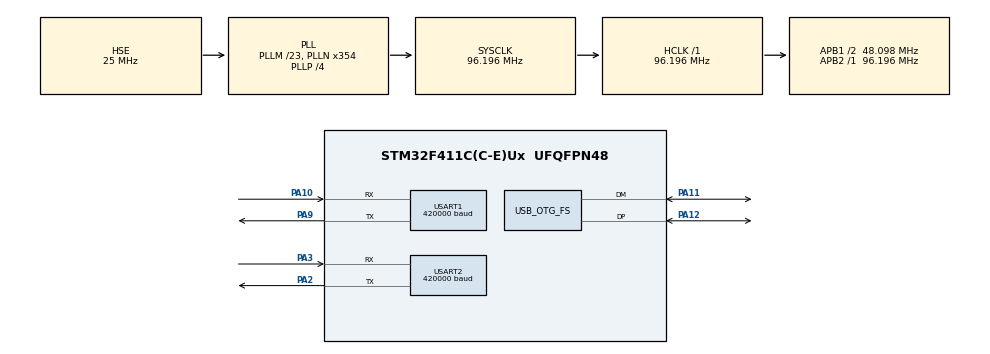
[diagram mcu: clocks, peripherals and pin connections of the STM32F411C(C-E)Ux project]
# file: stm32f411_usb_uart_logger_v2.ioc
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Mcu.Family=STM32F4
Mcu.Name=STM32F411C(C-E)Ux
Mcu.Package=UFQFPN48
NVIC.OTG_FS_IRQn=true\:0\:0\:false\:false\:true\:false\:true\:true
NVIC.PriorityGroup=NVIC_PRIORITYGROUP_4
NVIC.USART2_IRQn=true\:0\:0\:false\:false\:true\:true\:true\:true
PA10.Mode=Multiprocessor_communication
PA10.Signal=USART1_RX
PA11.Mode=Device_Only
PA11.Signal=USB_OTG_FS_DM
PA12.Mode=Device_Only
PA12.Signal=USB_OTG_FS_DP
PA2.Mode=Asynchronous
PA2.Signal=USART2_TX
PA3.Mode=Asynchronous
PA3.Signal=USART2_RX
PA9.Mode=Multiprocessor_communication
PA9.Signal=USART1_TX
PH0\ -\ OSC_IN.Mode=HSE-External-Oscillator
PH0\ -\ OSC_IN.Signal=RCC_OSC_IN
PH1\ -\ OSC_OUT.Mode=HSE-External-Oscillator
PH1\ -\ OSC_OUT.Signal=RCC_OSC_OUT
ProjectManager.HeapSize=0x200
ProjectManager.StackSize=0x400
ProjectManager.TargetToolchain=Makefile
RCC.48MHZClocksFreq_Value=48097826.086956516
RCC.AHBFreq_Value=96195652.17391303
RCC.APB1CLKDivider=RCC_HCLK_DIV2
RCC.APB1Freq_Value=48097826.086956516
RCC.APB1TimFreq_Value=96195652.17391303
RCC.APB2Freq_Value=96195652.17391303
RCC.APB2TimFreq_Value=96195652.17391303
RCC.CortexFreq_Value=96195652.17391303
RCC.HCLKFreq_Value=96195652.17391303
RCC.HSE_VALUE=25000000
RCC.HSI_VALUE=16000000
RCC.LSE_VALUE=32768
RCC.PLLM=23
RCC.PLLN=354
RCC.PLLP=RCC_PLLP_DIV4
RCC.PLLQ=8
RCC.SYSCLKFreq_VALUE=96195652.17391303
RCC.SYSCLKSource=RCC_SYSCLKSOURCE_PLLCLK
RCC.VCOOutputFreq_Value=384782608.6956521
USART1.BaudRate=420000
USART1.VirtualMode=VM_ASYNC
USART2.BaudRate=420000
USART2.VirtualMode=VM_ASYNC
USB_DEVICE.CLASS_NAME_FS=CDC
USB_DEVICE.VirtualMode=Cdc
USB_DEVICE.VirtualModeFS=Cdc_FS
USB_OTG_FS.VirtualMode=Device_Only
VP_USB_DEVICE_VS_USB_DEVICE_CDC_FS.Mode=CDC_FS
board=custom

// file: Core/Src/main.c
/* USER CODE BEGIN Header */
/**
  ******************************************************************************
  * @file           : main.c
  * @brief          : Main program body
  ******************************************************************************
  * @attention
  *
  * Copyright (c) 2024 STMicroelectronics.
  * All rights reserved.
  *
  * This software is licensed under terms that can be found in the LICENSE file
  * in the root directory of this software component.
  * If no LICENSE file comes with this software, it is provided AS-IS.
  *
  ******************************************************************************
  */
/* USER CODE END Header */
#include <stdio.h>
#include "main.h"
#include "usb_device.h"

/* USER CODE BEGIN Includes */
#include <string.h>
#include "crsf.h"
/* USER CODE END Includes */

UART_HandleTypeDef huart1;
UART_HandleTypeDef huart2;

/* USER CODE BEGIN PV */
CRSF_Packet crsf_packet;
struct crsfPayloadAttitude_s CRSF_Attitude;
struct crsfPayloadLinkstatistics_s CRSF_LinkStatistics;

/* USER CODE END PV */

void SystemClock_Config(void);
static void MX_GPIO_Init(void);
static void MX_USART1_UART_Init(void);
static void MX_USART2_UART_Init(void);
/* USER CODE BEGIN PFP */
extern uint8_t CDC_Transmit_FS(uint8_t* Buf, uint16_t Len);
void clear_link_statistics(struct crsfPayloadLinkstatistics_s* crsf_link_statistics);
void processCrsfFrame(uint8_t * data, uint8_t device_id, uint8_t frame_size, uint8_t crc, uint32_t crc_failures_count, struct crsfPacket_s *crsf_packet, struct crsfPayloadLinkstatistics_s* crsf_link_statistics, struct crsfPayloadAttitude_s * crsf_attitude);
/* USER CODE END PFP */

/* USER CODE BEGIN 0 */
char buffer[256];
#define MEMORY_LIMIT  412000
#define CHANNEL_NUMBER_PITCH 0
#define CHANNEL_NUMBER_ROLL 1
#define CHANNEL_NUMBER_YAW 2
#define CHANNEL_NUMBER_TROTTLE 3
#define CHANNEL_NUMBER_ARM 4
#define CHANNEL_NUMBER_CUSTOM_MODE 5

uint32_t t_received = 0;
uint32_t t_transmitted = 0;
uint16_t buffer_position, previously_read;
uint8_t device_id;
uint8_t frame_size;

typedef struct data_for_flash {
  uint8_t beginning_marker;
  uint32_t tick;
  uint16_t rx_pitch;
  uint16_t rx_roll;
  uint16_t rx_yaw;
  uint16_t rx_trottle;
  uint16_t rx_arm;
  uint pitch;
  uint roll;
  uint yaw;
  uint8_t uplink_quality;
  uint8_t downlink_quality;
  char flight_mode[4];
} data_for_flash_s;

struct data_for_flash data_for_flash_obj;

/* USER CODE END 0 */

int main(void)
{

  /* MCU Configuration--------------------------------------------------------*/

  /* Reset of all peripherals, Initializes the Flash interface and the Systick. */
  HAL_Init();

  /* Configure the system clock */
  SystemClock_Config();

  /* Initialize all configured peripherals */
  MX_GPIO_Init();
  MX_USART1_UART_Init();
  MX_USART2_UART_Init();
  MX_USB_DEVICE_Init();
  /* USER CODE BEGIN 2 */
  HAL_Delay(5000);
  if (verbose > 1) {
      printf("Delay passed...\nHello, world!");
  }

    uint8_t data[BUFFER_SIZE];
    uint8_t crc;
    uint64_t i = 0, ii = 0;

    for(i = 0; i < BUFFER_SIZE; i++) {
        data[i] = 0;
    }

    i = 0;
    uint32_t crc_failures_count = 0;
    clear_link_statistics(&CRSF_LinkStatistics);
    clear_attitude(&CRSF_Attitude);
    buffer_position = 0;
    previously_read = 0;
    uint32_t position = 0;

    if (verbose > 1) {
        printf("\nStarting receiving data from main...\n");
    }

    do {
        readFromSource(1, data, buffer_position, 0, 1);
        if (verbose > 1) {
            printf("Searching for new beginning char: %x", (int) data[buffer_position]);
        }
    } while(data[buffer_position] != CRSF_SYNC_BYTE);

    previously_read++;

  /* USER CODE END 2 */

  /* Infinite loop */
  while (1)
  {

    /* USER CODE BEGIN 3 */
        if (verbose > 1) {
            printf("Main: infinite loop...\n");
        }

        previously_read = readFromSource(1, data, buffer_position + 1, previously_read, 1);
        if (verbose > 3) {
          printf("Buffer after read 1:\n");
          for(ii = 0; ii < previously_read; ii++) {
              printf("ii = %d, ", (int)ii);
              printf("data[ii] = %X\n", (int)data[ii]);
          }
        }

        if (buffer_position > previously_read) {
            buffer_position = buffer_position - BUFFER_SIZE;
        }
        device_id = data[buffer_position];

        if (verbose > 1) {
            printf("device id: %d (hex=%x)\n", (int)device_id, (int)device_id);
        }

        frame_size = data[buffer_position + 1];

        if (verbose > 1) {
            printf("frame size: %d (hex=%x)\n", (int)frame_size, (int)frame_size);
        }

        previously_read = readFromSource(1, data, buffer_position + 2, previously_read, frame_size);

        if (verbose > 3) {
          printf("Buffer after read frame:\n");
          for(ii = 0; ii < previously_read; ii++) {
              printf("ii = %d, ", (int)ii);
              printf("data[ii] = %X\n", (int)data[ii]);
          }
        }

        if (buffer_position > previously_read) {
            printf("array shifting happened\n");
            buffer_position = 0;//buffer_position - BUFFER_SIZE;
        }

        crc = data[buffer_position + frame_size + 1];
        uint8_t crc_fact = calculateCRC(data, buffer_position + 2, frame_size);

        if (crc_fact == crc) {
            processCrsfFrame(data + buffer_position + 2, device_id, frame_size, crc, crc_failures_count, &crsf_packet, &CRSF_LinkStatistics, &CRSF_Attitude);
            position = position + saveCurrentState(&data_for_flash_obj, position, &crsf_packet, &CRSF_LinkStatistics, &CRSF_Attitude);
            buffer_position = buffer_position + frame_size + 2;
            //previously_read = 0;

            //for(i = 0; i < BUFFER_SIZE; i++) {
            //    data[i] = 0;
            //}

            printf("crc ok, crc = %d, frame_size: %d, dump_position = %d (%X), buffer_position: %d, previously read: %d\n", crc, frame_size, 0, 0, buffer_position, previously_read);
            previously_read = readFromSource(1, data, buffer_position, previously_read, 1);
        } else {
            crc_failures_count++;
            // search for another beginning
            if (verbose > 1) {
                printf("CRC failed: crc fact: %d,  crc read: %d\n", crc_fact, crc);
                printf("frame_size: %d, dump_position = %d (%X), buffer_position: %d, previously read: %d\n", frame_size, 0, 0, buffer_position, previously_read);
            }
            uint8_t found = 0;

            for(uint16_t i = buffer_position + 1; i < buffer_position + frame_size; i++) {
                if (verbose > 2) {
                    printf("Searching for new beginning in buffer, i=%d, data[i]=%0X, dump position: %d\n", i, data[i], 0);
                }
                if (i > previously_read) {
                    buffer_position = 0;
                    previously_read = 0;

                    for(ii = 0; ii < BUFFER_SIZE; ii++) {
                        data[ii] = 0;
                    }

                    break;
                }

                if (data[i] == CRSF_SYNC_BYTE) {
                    buffer_position = i;
                    if (verbose > 1) {
                        printf("- Found!\n");
                    }
                    found = 1;
                    break;
                }
            }

            if (!found) {
                buffer_position = 0;

                do {
                    readFromSource(1, data, buffer_position, 0, 1);

                    if (verbose > 1) {
                        printf("Searching for new beginning in file, dump position: %X (%d), char: %x\n", 0, 0, data[buffer_position]);
                    }
                } while(data[buffer_position] != CRSF_SYNC_BYTE);

                previously_read = 1;
            }
        }

      if (t_received > MEMORY_LIMIT) {
        while (1) {
            HAL_GPIO_TogglePin(GPIOC, GPIO_PIN_13);
            HAL_Delay(1000);
        }
      }
  }
  /* USER CODE END 3 */
}

void SystemClock_Config(void)
{
  RCC_OscInitTypeDef RCC_OscInitStruct = {0};
  RCC_ClkInitTypeDef RCC_ClkInitStruct = {0};

  /** Configure the main internal regulator output voltage
  */
  __HAL_RCC_PWR_CLK_ENABLE();
  __HAL_PWR_VOLTAGESCALING_CONFIG(PWR_REGULATOR_VOLTAGE_SCALE1);

  /** Initializes the RCC Oscillators according to the specified parameters
  * in the RCC_OscInitTypeDef structure.
  */
  RCC_OscInitStruct.OscillatorType = RCC_OSCILLATORTYPE_HSE;
  RCC_OscInitStruct.HSEState = RCC_HSE_ON;
  RCC_OscInitStruct.PLL.PLLState = RCC_PLL_ON;
  RCC_OscInitStruct.PLL.PLLSource = RCC_PLLSOURCE_HSE;
  RCC_OscInitStruct.PLL.PLLM = 23;
  RCC_OscInitStruct.PLL.PLLN = 354;
  RCC_OscInitStruct.PLL.PLLP = RCC_PLLP_DIV4;
  RCC_OscInitStruct.PLL.PLLQ = 8;
  if (HAL_RCC_OscConfig(&RCC_OscInitStruct) != HAL_OK)
  {
    Error_Handler();
  }

  /** Initializes the CPU, AHB and APB buses clocks
  */
  RCC_ClkInitStruct.ClockType = RCC_CLOCKTYPE_HCLK|RCC_CLOCKTYPE_SYSCLK
                              |RCC_CLOCKTYPE_PCLK1|RCC_CLOCKTYPE_PCLK2;
  RCC_ClkInitStruct.SYSCLKSource = RCC_SYSCLKSOURCE_PLLCLK;
  RCC_ClkInitStruct.AHBCLKDivider = RCC_SYSCLK_DIV1;
  RCC_ClkInitStruct.APB1CLKDivider = RCC_HCLK_DIV2;
  RCC_ClkInitStruct.APB2CLKDivider = RCC_HCLK_DIV1;

  if (HAL_RCC_ClockConfig(&RCC_ClkInitStruct, FLASH_LATENCY_3) != HAL_OK)
  {
    Error_Handler();
  }
}

static void MX_USART1_UART_Init(void)
{

  huart1.Instance = USART1;
  huart1.Init.BaudRate = 420000;
  huart1.Init.WordLength = UART_WORDLENGTH_8B;
  huart1.Init.StopBits = UART_STOPBITS_1;
  huart1.Init.Parity = UART_PARITY_NONE;
  huart1.Init.Mode = UART_MODE_TX_RX;
  huart1.Init.HwFlowCtl = UART_HWCONTROL_NONE;
  huart1.Init.OverSampling = UART_OVERSAMPLING_16;
  if (HAL_MultiProcessor_Init(&huart1, 0, UART_WAKEUPMETHOD_IDLELINE) != HAL_OK)
  {
    Error_Handler();
  }

}

static void MX_USART2_UART_Init(void)
{

  huart2.Instance = USART2;
  huart2.Init.BaudRate = 420000;
  huart2.Init.WordLength = UART_WORDLENGTH_8B;
  huart2.Init.StopBits = UART_STOPBITS_1;
  huart2.Init.Parity = UART_PARITY_NONE;
  huart2.Init.Mode = UART_MODE_TX_RX;
  huart2.Init.HwFlowCtl = UART_HWCONTROL_NONE;
  huart2.Init.OverSampling = UART_OVERSAMPLING_16;
  if (HAL_UART_Init(&huart2) != HAL_OK)
  {
    Error_Handler();
  }

}

static void MX_GPIO_Init(void)
{

  /* GPIO Ports Clock Enable */
  __HAL_RCC_GPIOH_CLK_ENABLE();
  __HAL_RCC_GPIOA_CLK_ENABLE();

}

/* USER CODE BEGIN 4 */

uint32_t address_received = 0x08007000;
uint32_t address_transmitted = 0x08103a00;

int __io_putchar(int ch)
{
  /* Place your implementation of fputc here */
  /* e.g. write a character to the USART1 and Loop until the end of transmission */
  //HAL_UART_Transmit(&huart2, (uint8_t *)&ch, 1, 0xFFFF);
  //ITM_SendChar(ch);
  //CDC_Transmit_FS((uint8_t *)&ch, 1); !!!uncomment this for debugging to usb

  return ch;
}

int _write(int file, char *ptr, int len) {
    return len; // comment this line to debug with usb
    static uint8_t rc = USBD_OK;

    do {
        rc = CDC_Transmit_FS(ptr, len);
    } while (USBD_BUSY == rc);

    if (USBD_FAIL == rc) {
        /// NOTE: Should never reach here.
        /// TODO: Handle this error.
        return 0;
    }
    return len;
}

void store_received_data(char * cData)
{
    uint32_t tick = 0;//HAL_GetTick();//__HAL_TIM_GET_COUNTER(&htim1);
    write_to_flash(t_received, address_received, tick, cData);
    t_received = t_received + BUFFER_SIZE;
}

void store_transmitted_data(char cData) {
    uint32_t tick = HAL_GetTick();//__HAL_TIM_GET_COUNTER(&htim1);
    write_to_flash(t_transmitted, address_transmitted, tick, &cData);
    t_transmitted++;
}

void handle_recieved_data(char cData) {

}

int write_to_flash(uint32_t t, uint32_t address_beginning, char * data, int item_size)
{
      /* Unlock the Flash to enable the flash control register access *************/
       HAL_FLASH_Unlock();

       /* Erase the user Flash area*/

      uint32_t flashAddress = address_beginning + t*item_size;
      uint64_t i;

      for(i = 0; i < item_size; i++, flashAddress++) {
          if (verbose > 3)
              printf("Writing to flash: i: %d, flashAddress: %X, byte: %x\n", (int)i, (int)flashAddress, data[i]);

          if (HAL_FLASH_Program(FLASH_TYPEPROGRAM_BYTE, flashAddress, (uint64_t) data[i]) != HAL_OK) {
                int errorCode = HAL_FLASH_GetError ();

                if (verbose > 3)
                    printf("Error writing to flash: error code: %d\n", (int)errorCode);

              return errorCode;
          }
      }

      /* Lock the Flash to disable the flash control register access (recommended
          to protect the FLASH memory against possible unwanted operation) *********/
      HAL_FLASH_Lock();

      return 0;
}

int data_read(uint8_t * data, int n, int sourceId)
{
    UART_HandleTypeDef huart;
    if (1 == sourceId) {
        huart = huart2;
    } else if (2 == sourceId) {
        huart = huart1;
    } else {
        return -1;
    }

    if (HAL_UART_Receive(&huart, (uint8_t*) data, n, 20000) == HAL_OK) {
        return n;
    }

    return -2;
}

int saveCurrentState(
  struct data_for_flash * data_for_flash_p,
  int position,
  struct crsfPacket_s * crsf_packet,
  struct crsfPayloadLinkstatistics_s * crsf_link_statistics,
  struct crsfPayloadAttitude_s * crsf_attitude
) {
  int dataChanged = 0;

  if (data_for_flash_p->rx_pitch != crsf_packet->received_channels[CHANNEL_NUMBER_PITCH])
  {
     dataChanged = 1;
     data_for_flash_p->rx_pitch = crsf_packet->received_channels[CHANNEL_NUMBER_PITCH];
  }

  if (data_for_flash_p->rx_roll != crsf_packet->received_channels[CHANNEL_NUMBER_ROLL])
  {
     dataChanged = 1;
     data_for_flash_p->rx_roll = crsf_packet->received_channels[CHANNEL_NUMBER_ROLL];
  }

  if (data_for_flash_p->rx_yaw != crsf_packet->received_channels[CHANNEL_NUMBER_YAW])
  {
     dataChanged = 1;
     data_for_flash_p->rx_yaw = crsf_packet->received_channels[CHANNEL_NUMBER_YAW];
  }

  if (data_for_flash_p->rx_trottle != crsf_packet->received_channels[CHANNEL_NUMBER_TROTTLE])
  {
     dataChanged = 1;
     data_for_flash_p->rx_trottle = crsf_packet->received_channels[CHANNEL_NUMBER_TROTTLE];
  }

  if (data_for_flash_p->rx_arm != crsf_packet->received_channels[CHANNEL_NUMBER_ARM])
  {
     dataChanged = 1;
     data_for_flash_p->rx_arm = crsf_packet->received_channels[CHANNEL_NUMBER_ARM];
  }

  if (data_for_flash_p->pitch != crsf_attitude->pitch)
  {
     dataChanged = 1;
     data_for_flash_p->pitch = crsf_attitude->pitch;
  }

  if (data_for_flash_p->roll != crsf_attitude->roll)
  {
     dataChanged = 1;
     data_for_flash_p->roll = crsf_attitude->roll;
  }

  if (data_for_flash_p->yaw != crsf_attitude->yaw)
  {
     dataChanged = 1;
     data_for_flash_p->yaw = crsf_attitude->yaw;
  }

  if (data_for_flash_p->uplink_quality != crsf_link_statistics->uplink_Link_quality)
  {
     dataChanged = 1;
     data_for_flash_p->uplink_quality = crsf_link_statistics->uplink_Link_quality;
  }

    if (data_for_flash_p->downlink_quality != crsf_link_statistics->downlink_Link_quality)
  {
     dataChanged = 1;
     data_for_flash_p->downlink_quality = crsf_link_statistics->downlink_Link_quality;
  }

  if (dataChanged) {
    data_for_flash_p->tick = (uint64_t) HAL_GetTick();
    data_for_flash_p->beginning_marker = 0xee;
    write_to_flash(position, address_received, (char *)data_for_flash_p, sizeof(struct data_for_flash));
    printf("Position saved, position: %d, size: %d, \n", (int)position, (int)sizeof(struct data_for_flash));
    return 1;
  } else {
    printf("Position is the same. No save.");
    return 0;
  }

}

/* USER CODE END 4 */

void Error_Handler(void)
{
  __disable_irq();
  while (1)
  {
  }
}
